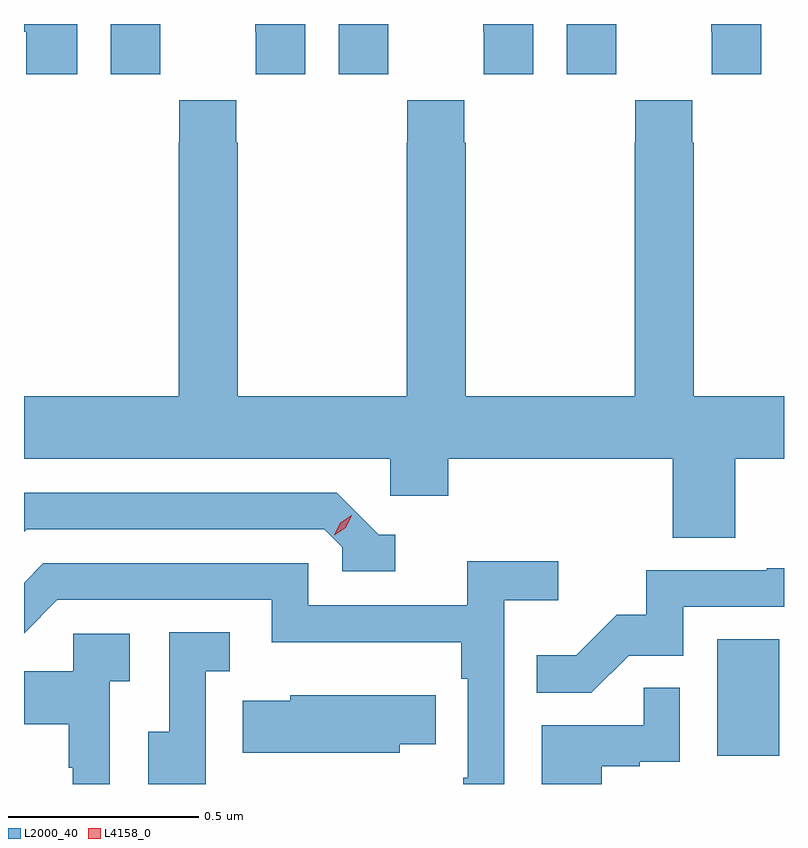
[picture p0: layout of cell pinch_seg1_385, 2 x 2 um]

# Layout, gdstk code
import gdstk
lib = gdstk.Library(unit=1e-6, precision=1e-09)
def R(c, l, rs):  # rectangles x0, y0, x1, y1
    for r in rs: c.add(gdstk.rectangle(r[:2], r[2:], *l))
def P(c, l, *ps):  # polygons
    for p in ps: c.add(gdstk.Polygon(p, *l))
L2000_40 = (2000, 40)
L4158_0 = (4158, 0)

pinch_seg1_385 = lib.new_cell('pinch_seg1_385')
R(pinch_seg1_385, L2000_40, [(982.988,526.974,983.152,527.281)])
P(pinch_seg1_385, L2000_40, [(981.522,528.88),(981.523,528.88),(981.523,528.9),(981.392,528.9),(981.392,528.768),(981.522,528.768)],
  [(981.904,528.9),(981.773,528.9),(981.773,528.88),(981.774,528.88),(981.774,528.768),(981.904,528.768)],
  [(982.122,528.88),(982.123,528.88),(982.123,528.9),(981.992,528.9),(981.992,528.768),(982.122,528.768)],
  [(982.504,528.9),(982.373,528.9),(982.373,528.88),(982.374,528.88),(982.374,528.768),(982.504,528.768)],
  [(982.722,528.88),(982.723,528.88),(982.723,528.9),(982.592,528.9),(982.592,528.768),(982.722,528.768)],
  [(983.104,528.9),(982.973,528.9),(982.973,528.88),(982.974,528.88),(982.974,528.768),(983.104,528.768)],
  [(981.304,528.9),(981.164,528.9),(981.164,528.88),(981.17,528.88),(981.17,528.768),(981.304,528.768)],
  [(982.28,527.756),(982.871,527.756),(982.871,527.548),(983.036,527.548),(983.036,527.756),(983.164,527.756),(983.164,527.92),(982.926,527.92),(982.926,528.587),(982.923,528.587),(982.923,528.7),(982.773,528.7),(982.773,528.587),(982.771,528.587),(982.771,527.92),(982.326,527.92),(982.326,528.587),(982.323,528.587),(982.323,528.7),(982.173,528.7),(982.173,528.587),(982.171,528.587),(982.171,527.92),(981.726,527.92),(981.726,528.587),(981.723,528.587),(981.723,528.7),(981.573,528.7),(981.573,528.587),(981.571,528.587),(981.571,527.92),(981.164,527.92),(981.164,527.756),(982.128,527.756),(982.128,527.658),(982.28,527.658)],
  [(982.141,527.556),(982.098,527.556),(981.987,527.667),(981.164,527.667),(981.164,527.564),(981.171,527.571),(981.954,527.571),(982.002,527.523),(982.002,527.46),(982.141,527.46)],
  [(982.428,527.384),(982.57,527.384),(982.57,527.486),(982.331,527.486),(982.331,527.37),(981.912,527.37),(981.912,527.481),(981.215,527.481),(981.164,527.43),(981.164,527.297),(981.252,527.385),(981.816,527.385),(981.816,527.273),(982.315,527.273),(982.315,527.177),(982.332,527.177),(982.332,526.916),(982.32,526.916),(982.32,526.9),(982.428,526.9)],
  [(982.755,527.238),(982.899,527.238),(982.899,527.367),(983.164,527.367),(983.164,527.468),(983.119,527.468),(983.119,527.463),(982.801,527.463),(982.801,527.346),(982.724,527.346),(982.617,527.239),(982.513,527.239),(982.513,527.14),(982.657,527.14)],
  [(981.642,527.197),(981.706,527.197),(981.706,527.3),(981.546,527.3),(981.546,527.037),(981.491,527.037),(981.491,526.9),(981.642,526.9)],
  [(981.39,527.171),(981.442,527.171),(981.442,527.295),(981.294,527.295),(981.294,527.197),(981.164,527.197),(981.164,527.057),(981.282,527.057),(981.282,526.943),(981.292,526.943),(981.292,526.9),(981.39,526.9)],
  [(982.684,526.947),(982.784,526.947),(982.784,526.959),(982.89,526.959),(982.89,527.153),(982.795,527.153),(982.795,527.055),(982.526,527.055),(982.526,526.9),(982.684,526.9)],
  [(982.153,527.005),(982.247,527.005),(982.247,527.133),(982.136,527.133),(982.136,527.134),(981.864,527.134),(981.864,527.119),(981.739,527.119),(981.739,526.982),(982.153,526.982)])
P(pinch_seg1_385, L4158_0, [(981.98,527.555),(981.98,527.555),(981.996,527.588),(982.026,527.607),(982.027,527.607),(982.027,527.607),(982.011,527.574),(981.98,527.555)])

lib.write_gds('pinch_seg1_385.gds')
